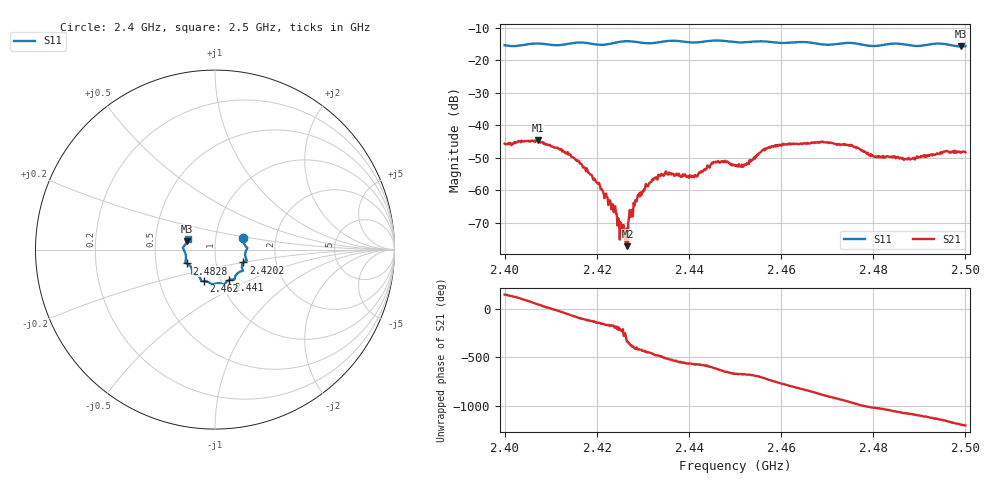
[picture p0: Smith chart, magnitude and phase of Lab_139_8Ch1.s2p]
# Hz S RI R
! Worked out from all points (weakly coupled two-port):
!   601 points, 2.4 GHz to 2.5 GHz, reference 50 ohm
!   highest |S21| = -44.68 dB at 2.4072 GHz (marker M1); lowest = -77.2 dB at 2.4267 GHz (marker M2)
!   lowest |S11| = -15.8 dB at 2.499 GHz (marker M3), VSWR 1.39, Z = 36.4 + j3.55 ohm
!   |S11| at or under -10 dB: start of sweep to end of sweep
!   S12 and S22 are empty: the file has one direction only
!   S11 on the Smith chart (normalised r, x): 2.4 GHz: 1.36, +0.17; 2.4202 GHz: 1.36, -0.20; 2.441 GHz: 1.10, -0.39; 2.462 GHz: 0.83, -0.30; 2.4828 GHz: 0.72, -0.11; 2.5 GHz: 0.73, +0.09
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2.4e9  0.1581 0.0621  -0.00423 0.00303  0 0  0 0
2.407167e9  0.1806 0.0088  0.00427 0.00398  0 0  0 0
2.416667e9  0.1768 -0.0603  -0.000535 -0.00248  0 0  0 0
2.420167e9  0.1579 -0.0718  -0.00104 -0.000739  0 0  0 0
2.423833e9  0.1513 -0.1054  -0.000492 0.000139  0 0  0 0
2.426167e9  0.1563 -0.1177  -5.05e-05 0.000168  0 0  0 0
2.426667e9  0.1562 -0.1183  0.000124 5.9e-05  0 0  0 0
2.4275e9  0.1542 -0.1192  0.000396 -0.000113  0 0  0 0
2.428833e9  0.1463 -0.1209  0.000471 -0.000645  0 0  0 0
2.433333e9  0.1117 -0.1511  -0.000914 -0.00146  0 0  0 0
2.441e9  0.0782 -0.1702  -0.00139 0.000892  0 0  0 0
2.445833e9  0.0502 -0.1947  -0.000689 0.00266  0 0  0 0
2.45e9  0.0277 -0.1875  0.00156 0.0018  0 0  0 0
2.452167e9  0.00623 -0.1887  0.00181 0.0017  0 0  0 0
2.457e9  -0.0202 -0.1922  0.00437 -0.000503  0 0  0 0
2.462e9  -0.061 -0.1755  0.00117 -0.00488  0 0  0 0
2.466667e9  -0.0788 -0.1678  -0.00382 -0.0038  0 0  0 0
2.475e9  -0.1274 -0.1335  -0.00221 0.0043  0 0  0 0
2.482833e9  -0.1571 -0.0769  0.00254 0.00214  0 0  0 0
2.483333e9  -0.1601 -0.0754  0.00263 0.00192  0 0  0 0
2.499e9  -0.1555 0.0475  -0.00143 -0.00346  0 0  0 0
2.5e9  -0.1522 0.0614  -0.00207 -0.00322  0 0  0 0
